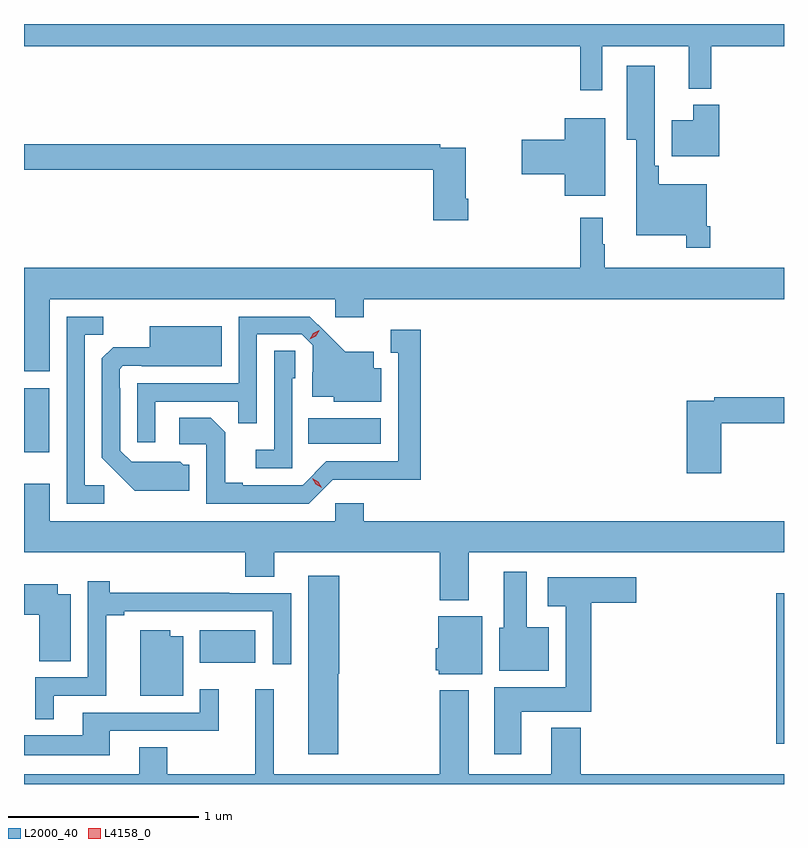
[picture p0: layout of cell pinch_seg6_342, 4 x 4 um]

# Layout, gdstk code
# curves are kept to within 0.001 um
import gdstk
lib = gdstk.Library(unit=1e-6, precision=1e-09)
def R(c, l, rs):  # rectangles x0, y0, x1, y1
    for r in rs: c.add(gdstk.rectangle(r[:2], r[2:], *l))
def P(c, l, *ps):  # polygons
    for p in ps: c.add(gdstk.Polygon(p, *l))
L2000_40 = (2000, 40)
L4158_0 = (4158, 0)

pinch_seg6_342 = lib.new_cell('pinch_seg6_342')
R(pinch_seg6_342, L2000_40, [(746.778,943.665,746.819,944.456), (743.744,944.09,744.037,944.26), (742.819,945.198,742.951,945.535), (744.316,945.242,744.697,945.376)])
P(pinch_seg6_342, L2000_40, [(745.863,947.336),(746.318,947.336),(746.318,947.111),(746.435,947.111),(746.435,947.336),(746.819,947.336),(746.819,947.452),(742.819,947.452),(742.819,947.336),(745.747,947.336),(745.747,947.103),(745.863,947.103)],
  [(746.432,946.387),(746.412,946.387),(746.412,946.609),(746.159,946.609),(746.159,946.705),(746.14,946.705),(746.14,947.233),(745.991,947.233),(745.991,946.844),(746.042,946.844),(746.042,946.34),(746.304,946.34),(746.304,946.275),(746.432,946.275)],
  [(746.477,947.026),(746.342,947.026),(746.342,946.945),(746.228,946.945),(746.228,946.757),(746.477,946.757)],
  [(745.879,946.957),(745.664,946.957),(745.664,946.844),(745.44,946.844),(745.44,946.661),(745.664,946.661),(745.664,946.547),(745.879,946.547)],
  [(745.157,946.531),(745.144,946.531),(745.144,946.8),(745.01,946.8),(745.01,946.82),(742.819,946.82),(742.819,946.684),(744.974,946.684),(744.974,946.419),(745.157,946.419)],
  [(742.954,946.004),(744.456,946.004),(744.456,945.909),(744.608,945.909),(744.608,946.004),(746.819,946.004),(746.819,946.168),(745.876,946.168),(745.876,946.292),(745.864,946.292),(745.864,946.432),(745.747,946.432),(745.747,946.168),(742.819,946.168),(742.819,945.624),(742.954,945.624)],
  [(743.242,945.024),(743.139,945.024),(743.139,945.817),(743.235,945.817),(743.235,945.912),(743.043,945.912),(743.043,944.928),(743.242,944.928)],
  [(743.511,945.465),(743.947,945.465),(743.947,945.352),(744.045,945.352),(744.045,945.819),(744.282,945.819),(744.339,945.762),(744.339,945.62),(744.335,945.62),(744.335,945.491),(744.45,945.491),(744.45,945.464),(744.7,945.464),(744.7,945.64),(744.661,945.64),(744.661,945.727),(744.509,945.727),(744.322,945.912),(743.949,945.912),(743.949,945.561),(743.415,945.561),(743.415,945.252),(743.511,945.252)],
  [(743.689,945.132),(743.658,945.132),(743.642,945.148),(743.385,945.147),(743.325,945.207),(743.325,945.536),(743.322,945.536),(743.322,945.636),(743.34,945.654),(743.44,945.654),(743.44,945.65),(743.86,945.65),(743.86,945.862),(743.48,945.862),(743.48,945.751),(743.288,945.751),(743.229,945.692),(743.229,945.17),(743.401,944.996),(743.689,944.996)],
  [(744.444,945.054),(744.907,945.053),(744.907,945.844),(744.749,945.844),(744.749,945.723),(744.788,945.723),(744.788,945.15),(744.411,945.15),(744.285,945.024),(743.971,945.024),(743.971,945.037),(743.877,945.037),(743.877,945.304),(743.801,945.38),(743.637,945.38),(743.637,945.24),(743.778,945.24),(743.778,944.928),(744.318,944.928)],
  [(744.231,945.588),(744.246,945.588),(744.246,945.731),(744.135,945.731),(744.135,945.211),(744.039,945.211),(744.039,945.114),(744.231,945.114)],
  [(746.489,945.352),(746.819,945.352),(746.819,945.488),(746.452,945.488),(746.452,945.468),(746.306,945.468),(746.306,945.087),(746.489,945.087)],
  [(745.159,944.672),(746.819,944.672),(746.819,944.836),(744.608,944.836),(744.608,944.929),(744.456,944.929),(744.456,944.836),(742.954,944.836),(742.954,945.031),(742.819,945.031),(742.819,944.672),(743.984,944.672),(743.984,944.542),(744.136,944.542),(744.136,944.672),(745.007,944.672),(745.007,944.42),(745.159,944.42)],
  [(745.582,944.278),(745.465,944.278),(745.465,944.569),(745.343,944.569),(745.343,944.274),(745.319,944.274),(745.319,944.048),(745.582,944.048)],
  [(744.473,944.031),(744.478,944.031),(744.478,944.548),(744.314,944.548),(744.314,943.608),(744.473,943.608)],
  [(745.435,943.832),(745.805,943.832),(745.805,944.405),(746.041,944.405),(746.041,944.539),(745.575,944.539),(745.575,944.387),(745.67,944.387),(745.67,943.96),(745.295,943.96),(745.295,943.608),(745.435,943.608)],
  [(742.975,943.917),(743.252,943.917),(743.252,944.341),(743.347,944.341),(743.347,944.361),(744.129,944.361),(744.129,944.082),(744.225,944.082),(744.225,944.457),(743.9,944.457),(743.9,944.459),(743.27,944.459),(743.27,944.518),(743.154,944.518),(743.154,944.013),(742.877,944.013),(742.877,943.793),(742.975,943.793)],
  [(743.065,944.452),(742.996,944.452),(742.996,944.503),(742.819,944.503),(742.819,944.342),(742.898,944.342),(742.898,944.098),(743.065,944.098)],
  [(745.231,944.335),(744.998,944.335),(744.998,944.166),(744.986,944.166),(744.986,944.052),(745.002,944.052),(745.002,944.03),(745.231,944.03)],
  [(743.656,944.23),(743.59,944.23),(743.59,944.26),(743.432,944.26),(743.432,943.916),(743.656,943.916)],
  [(743.269,943.731),(743.843,943.731),(743.843,943.951),(743.745,943.951),(743.745,943.827),(743.129,943.827),(743.129,943.708),(742.819,943.708),(742.819,943.604),(743.269,943.604)],
  [(746.819,943.504),(745.748,943.504),(745.748,943.747),(745.595,943.747),(745.595,943.504),(745.159,943.504),(745.159,943.945),(745.007,943.945),(745.007,943.504),(744.134,943.504),(744.134,943.951),(744.035,943.951),(744.035,943.504),(743.574,943.504),(743.574,943.646),(743.426,943.646),(743.426,943.504),(742.819,943.504),(742.819,943.452),(746.819,943.452)])
P(pinch_seg6_342, L4158_0, [(744.385,945.01),(744.354,945.03),(744.337,945.062),(744.337,945.062),(744.337,945.062),(744.368,945.043),(744.386,945.011),(744.386,945.01)],
  [(744.323,945.794),(744.323,945.794),(744.341,945.824),(744.372,945.839),(744.372,945.839),(744.372,945.838),(744.354,945.809),(744.323,945.794)])

lib.write_gds('pinch_seg6_342.gds')
